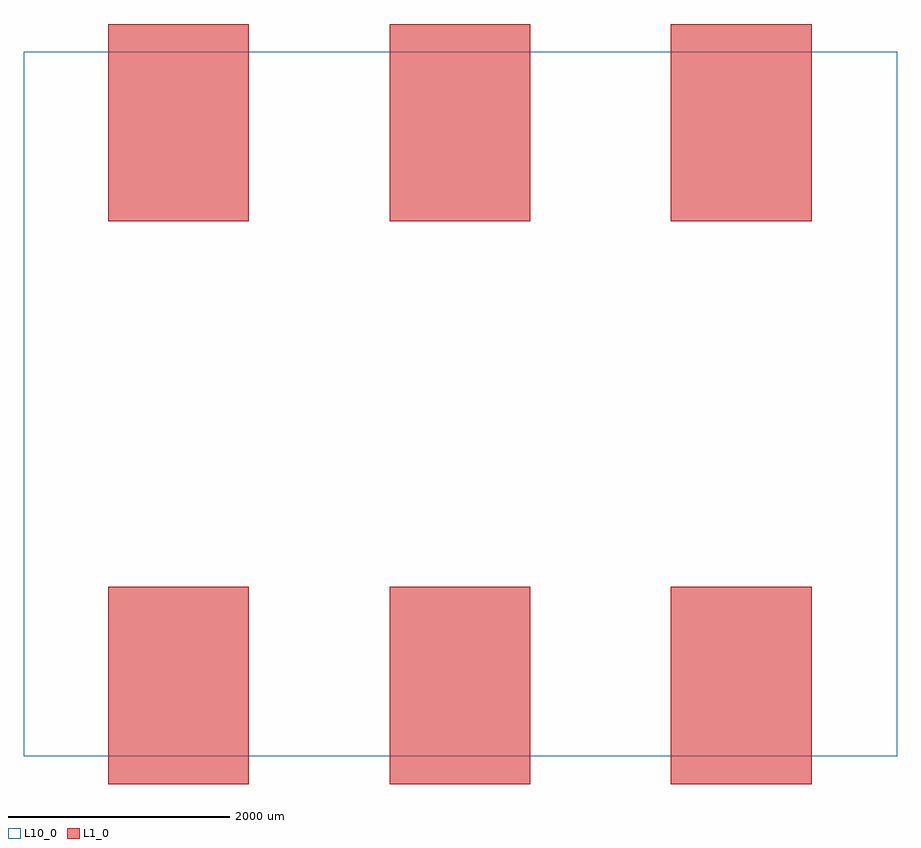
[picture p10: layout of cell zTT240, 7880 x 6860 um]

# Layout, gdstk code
import gdstk
lib = gdstk.Library(unit=1e-6, precision=1e-09)
def R(c, l, rs):  # rectangles x0, y0, x1, y1
    for r in rs: c.add(gdstk.rectangle(r[:2], r[2:], *l))
def A(c, l, x, y, w, h, nx, ny, dx, dy):  # array of equal rectangles
    R(c, l, [(x+i*dx, y+j*dy, x+i*dx+w, y+j*dy+h) for i in range(nx) for j in range(ny)])
L1_0 = (1, 0)
L10_0 = (10, 0)

ztt240 = lib.new_cell('zTT240')
A(ztt240, L1_0, -3180, -3430, 1270, 1780, 3, 2, 2540, 5080)
R(ztt240, L10_0, [(-3940,-3180,3940,3180)])

lib.write_gds('zTT240.gds')
